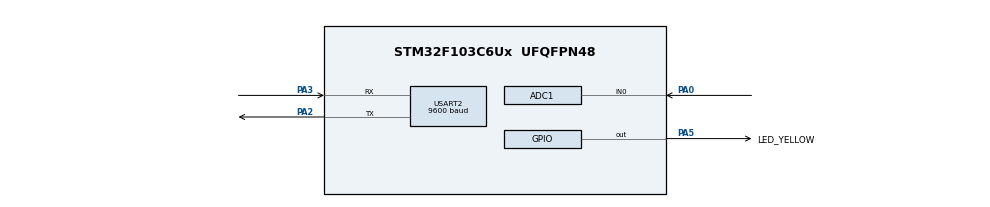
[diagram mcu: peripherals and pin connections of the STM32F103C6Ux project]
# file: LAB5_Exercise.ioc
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ADC1.Channel-0\#ChannelRegularConversion=ADC_CHANNEL_0
ADC1.ContinuousConvMode=ENABLE
ADC1.NbrOfConversionFlag=1
ADC1.Rank-0\#ChannelRegularConversion=1
ADC1.SamplingTime-0\#ChannelRegularConversion=ADC_SAMPLETIME_1CYCLE_5
ADC1.master=1
Mcu.Family=STM32F1
Mcu.Name=STM32F103C6Ux
Mcu.Package=UFQFPN48
NVIC.PriorityGroup=NVIC_PRIORITYGROUP_4
NVIC.TIM2_IRQn=true\:0\:0\:false\:false\:true\:true\:true
NVIC.USART2_IRQn=true\:0\:0\:false\:false\:true\:true\:true
PA0-WKUP.Signal=ADCx_IN0
PA2.Mode=Asynchronous
PA2.Signal=USART2_TX
PA3.Mode=Asynchronous
PA3.Signal=USART2_RX
PA5.GPIO_Label=LED_YELLOW
PA5.Signal=GPIO_Output
ProjectManager.HeapSize=0x200
ProjectManager.StackSize=0x400
ProjectManager.TargetToolchain=STM32CubeIDE
RCC.APB1Freq_Value=8000000
RCC.APB2Freq_Value=8000000
SH.ADCx_IN0.0=ADC1_IN0,IN0
TIM2.Period=9
TIM2.Prescaler=7999
USART2.BaudRate=9600
USART2.VirtualMode=VM_ASYNC
VP_SYS_VS_ND.Mode=No_Debug
VP_TIM2_VS_ClockSourceINT.Mode=Internal
board=custom

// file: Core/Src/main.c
/* USER CODE BEGIN Header */
/**
  ******************************************************************************
  * @file           : main.c
  * @brief          : Main program body
  ******************************************************************************
  * @attention
  *
  * <h2><center>&copy; Copyright (c) 2024 STMicroelectronics.
  * All rights reserved.</center></h2>
  *
  * This software component is licensed by ST under BSD 3-Clause license,
  * the "License"; You may not use this file except in compliance with the
  * License. You may obtain a copy of the License at:
  *                        opensource.org/licenses/BSD-3-Clause
  *
  ******************************************************************************
  */
/* USER CODE END Header */
#include "main.h"

/* USER CODE BEGIN Includes */
#include "string.h"
#include <stdio.h>
#include "software_timer.h"
/* USER CODE END Includes */

/* USER CODE BEGIN PD */
#define MAX_BUFFER_SIZE 200
#define RTS 1
#define OK 2
#define THREE_SECOND 3
/* USER CODE END PD */

ADC_HandleTypeDef hadc1;

TIM_HandleTypeDef htim2;

UART_HandleTypeDef huart2;

void SystemClock_Config(void);
static void MX_GPIO_Init(void);
static void MX_ADC1_Init(void);
static void MX_USART2_UART_Init(void);
static void MX_TIM2_Init(void);

/* USER CODE BEGIN 0 */
uint8_t temp = 0;  // Biến để lưu dữ liệu nhận từ UART
uint8_t buffer[MAX_BUFFER_SIZE];  // Bộ đệm để lưu dữ liệu nhận từ UART
uint8_t index_buffer = 0;  // Chỉ số hiện tại của bộ đệm
uint8_t buffer_flag = 0;  // C�? để đánh dấu dữ liệu đã được nhận hoàn tất
int command_state = THREE_SECOND;
uint8_t cmd_data[MAX_BUFFER_SIZE];
static uint32_t last_adc_value = 0;
static uint32_t adc_value = 1234;
char adc_response[20];
int transmit_counter=0;
static enum {
		PARSER_IDLE,
		PARSER_RECEIVING,
		PARSER_DONE
	} parser_state = PARSER_IDLE;
   static enum {
		   UART_IDLE,
		   UART_SEND_ADC,
		   UART_WAIT_OK,
		   UART_RETRANSMIT
	   } uart_state = UART_IDLE;

void HAL_UART_RxCpltCallback(UART_HandleTypeDef *huart)
{
    if (huart->Instance == USART2)  // Kiểm tra nếu là UART2
    {
    //	HAL_UART_Transmit(&huart2, &temp, 1, 50);
        buffer[index_buffer++] = temp; // Lưu dữ liệu nhận được vào buffer tại vị trí index_buffer
        // Nếu bộ đệm đầy, reset chỉ số v�? 0
        if (index_buffer == MAX_BUFFER_SIZE)
            index_buffer = 0;
    }

    //�?ặt c�? buffer_flag thành 1 để đánh dấu dữ liệu đã được nhận
    buffer_flag = 1;

    // Tiếp tục nhận dữ liệu từ UART (bật chế độ ngắt nhận UART)
    HAL_UART_Receive_IT(&huart2, &temp, 1);
}

void command_parser_fsm() {
    static uint8_t cmd_idx = 0;
    char characters = buffer[index_buffer - 1];  // Lấy ký tự mới nhất từ buffer
    switch (parser_state) {
        case PARSER_IDLE:
            if (characters == '!') {  // Bắt đầu chuỗi lệnh
                cmd_idx = 0;
                cmd_data[cmd_idx++] = characters;
                parser_state = PARSER_RECEIVING;
            }
            break;

        case PARSER_RECEIVING:
            cmd_data[cmd_idx++] = characters;  // Lưu ký tự
            if (characters == '#') {  // Kết thúc chuỗi lệnh
                parser_state = PARSER_DONE;
                cmd_data[cmd_idx] = '\0';  // Kết thúc chuỗi
            }
            break;

        case PARSER_DONE:
            // Kiểm tra chuỗi lệnh
            if (strcmp((char *)cmd_data, "!RTS#") == 0) {
                command_state = RTS;  // Lệnh yêu cầu gửi giá trị ADC
            } else if (strcmp((char *)cmd_data, "!OK#") == 0) {
                command_state = OK;  // �?ánh dấu kết thúc giao tiếp
            }
            parser_state = PARSER_IDLE;  // Quay lại trạng thái ban đầu
            break;

        default:
            parser_state = PARSER_IDLE;
            break;
    }

    // Reset index_buffer khi đạt giới hạn
    if (index_buffer >= MAX_BUFFER_SIZE) {
        index_buffer = 0;
    }
}

void uart_communication_fsm() {

    switch (uart_state) {
        case UART_IDLE:
        //	transmit_counter=0;
            if (command_state == RTS) {
            	HAL_GPIO_WritePin(LED_YELLOW_GPIO_Port, LED_YELLOW_Pin, RESET);
              //  adc_value = HAL_ADC_GetValue(&hadc1);  // �?�?c giá trị ADC
                snprintf(adc_response, sizeof(adc_response), "!ADC=%lu#\r\n", (uint32_t)adc_value);  // �?ịnh dạng chuỗi lệnh
           //     HAL_UART_Transmit(&huart2, (uint8_t *)adc_response, strlen(adc_response), 100);  // Gửi qua UART
                last_adc_value = adc_value;  // Lưu giá trị ADC
                uart_state = UART_RETRANSMIT;  // Chuyển sang trạng thái ch�? phản hồi
              //  setTimer(0, 3000);  // Bắt đầu đếm th�?i gian 3 giây
            }
            break;

        case UART_WAIT_OK:
            if (isTimerExpired(0)) {  // Hết th�?i gian ch�?
                uart_state = UART_RETRANSMIT;  // Chuyển sang trạng thái gửi lại
            }
            if(transmit_counter==5&&(command_state != OK)){
            	uart_state = UART_RETRANSMIT;
            }
            if (command_state == OK) {  // Nhận phản hồi !OK#
            	HAL_GPIO_WritePin(LED_YELLOW_GPIO_Port, LED_YELLOW_Pin, SET);
            	transmit_counter=0;
            	command_state=THREE_SECOND;
                uart_state = UART_IDLE;
            }
            break;

        case UART_RETRANSMIT:
        	if(transmit_counter<5){
				snprintf(adc_response, sizeof(adc_response), "!ADC=%lu#\r\n", (uint32_t)last_adc_value);  // �?ịnh dạng chuỗi ADC
				HAL_UART_Transmit(&huart2, (uint8_t *)adc_response, strlen(adc_response), 100);  // Gửi lại qua UART
				if(transmit_counter<4) setTimer(0, 3000);
				  // Reset lại th�?i gian ch�?
//				if(transmit_counter==4) clear_timer_flag(0);
				transmit_counter++;
				uart_state = UART_WAIT_OK;  // Chuyển v�? trạng thái ch�? phản hồi
        	}
        	else {
        	//	uart_state = UART_IDLE;
        	//	command_state=THREE_SECOND;
        	//	transmit_counter=0;
        		uart_state = UART_WAIT_OK;
        	}
            break;

        default:
            uart_state = UART_IDLE;
            break;
    }
}

/* USER CODE END 0 */

int main(void)
{

  /* MCU Configuration--------------------------------------------------------*/

  /* Reset of all peripherals, Initializes the Flash interface and the Systick. */
  HAL_Init();

  /* Configure the system clock */
  SystemClock_Config();

  /* Initialize all configured peripherals */
  MX_GPIO_Init();
  MX_ADC1_Init();
  MX_USART2_UART_Init();
  MX_TIM2_Init();
  /* USER CODE BEGIN 2 */
  HAL_UART_Receive_IT(&huart2, &temp, 1);
  HAL_TIM_Base_Start_IT(&htim2);
//  HAL_UART_RxCpltCallback(&huart2);
 // HAL_ADC_Start(&hadc1);
     //HAL_ADC_GetValue(&hadc1);
     command_state = THREE_SECOND;
  /* USER CODE END 2 */

  /* Infinite loop */
  /* USER CODE BEGIN WHILE */
  while (1)
  {

	  if (buffer_flag == 1) {
	  	 	          command_parser_fsm();  // Phân tích lệnh
	  	 	          buffer_flag = 0;       // Reset c�? nhận buffer
	  	 	      }
	  	 	      uart_communication_fsm();
    /* USER CODE END WHILE */

  }
}

void SystemClock_Config(void)
{
  RCC_OscInitTypeDef RCC_OscInitStruct = {0};
  RCC_ClkInitTypeDef RCC_ClkInitStruct = {0};
  RCC_PeriphCLKInitTypeDef PeriphClkInit = {0};

  /** Initializes the RCC Oscillators according to the specified parameters
  * in the RCC_OscInitTypeDef structure.
  */
  RCC_OscInitStruct.OscillatorType = RCC_OSCILLATORTYPE_HSI;
  RCC_OscInitStruct.HSIState = RCC_HSI_ON;
  RCC_OscInitStruct.HSICalibrationValue = RCC_HSICALIBRATION_DEFAULT;
  RCC_OscInitStruct.PLL.PLLState = RCC_PLL_NONE;
  if (HAL_RCC_OscConfig(&RCC_OscInitStruct) != HAL_OK)
  {
    Error_Handler();
  }
  /** Initializes the CPU, AHB and APB buses clocks
  */
  RCC_ClkInitStruct.ClockType = RCC_CLOCKTYPE_HCLK|RCC_CLOCKTYPE_SYSCLK
                              |RCC_CLOCKTYPE_PCLK1|RCC_CLOCKTYPE_PCLK2;
  RCC_ClkInitStruct.SYSCLKSource = RCC_SYSCLKSOURCE_HSI;
  RCC_ClkInitStruct.AHBCLKDivider = RCC_SYSCLK_DIV1;
  RCC_ClkInitStruct.APB1CLKDivider = RCC_HCLK_DIV1;
  RCC_ClkInitStruct.APB2CLKDivider = RCC_HCLK_DIV1;

  if (HAL_RCC_ClockConfig(&RCC_ClkInitStruct, FLASH_LATENCY_0) != HAL_OK)
  {
    Error_Handler();
  }
  PeriphClkInit.PeriphClockSelection = RCC_PERIPHCLK_ADC;
  PeriphClkInit.AdcClockSelection = RCC_ADCPCLK2_DIV2;
  if (HAL_RCCEx_PeriphCLKConfig(&PeriphClkInit) != HAL_OK)
  {
    Error_Handler();
  }
}

static void MX_ADC1_Init(void)
{

  ADC_ChannelConfTypeDef sConfig = {0};

  /** Common config
  */
  hadc1.Instance = ADC1;
  hadc1.Init.ScanConvMode = ADC_SCAN_DISABLE;
  hadc1.Init.ContinuousConvMode = ENABLE;
  hadc1.Init.DiscontinuousConvMode = DISABLE;
  hadc1.Init.ExternalTrigConv = ADC_SOFTWARE_START;
  hadc1.Init.DataAlign = ADC_DATAALIGN_RIGHT;
  hadc1.Init.NbrOfConversion = 1;
  if (HAL_ADC_Init(&hadc1) != HAL_OK)
  {
    Error_Handler();
  }
  /** Configure Regular Channel
  */
  sConfig.Channel = ADC_CHANNEL_0;
  sConfig.Rank = ADC_REGULAR_RANK_1;
  sConfig.SamplingTime = ADC_SAMPLETIME_1CYCLE_5;
  if (HAL_ADC_ConfigChannel(&hadc1, &sConfig) != HAL_OK)
  {
    Error_Handler();
  }

}

static void MX_TIM2_Init(void)
{

  TIM_ClockConfigTypeDef sClockSourceConfig = {0};
  TIM_MasterConfigTypeDef sMasterConfig = {0};

  htim2.Instance = TIM2;
  htim2.Init.Prescaler = 7999;
  htim2.Init.CounterMode = TIM_COUNTERMODE_UP;
  htim2.Init.Period = 9;
  htim2.Init.ClockDivision = TIM_CLOCKDIVISION_DIV1;
  htim2.Init.AutoReloadPreload = TIM_AUTORELOAD_PRELOAD_DISABLE;
  if (HAL_TIM_Base_Init(&htim2) != HAL_OK)
  {
    Error_Handler();
  }
  sClockSourceConfig.ClockSource = TIM_CLOCKSOURCE_INTERNAL;
  if (HAL_TIM_ConfigClockSource(&htim2, &sClockSourceConfig) != HAL_OK)
  {
    Error_Handler();
  }
  sMasterConfig.MasterOutputTrigger = TIM_TRGO_RESET;
  sMasterConfig.MasterSlaveMode = TIM_MASTERSLAVEMODE_DISABLE;
  if (HAL_TIMEx_MasterConfigSynchronization(&htim2, &sMasterConfig) != HAL_OK)
  {
    Error_Handler();
  }

}

static void MX_USART2_UART_Init(void)
{

  huart2.Instance = USART2;
  huart2.Init.BaudRate = 9600;
  huart2.Init.WordLength = UART_WORDLENGTH_8B;
  huart2.Init.StopBits = UART_STOPBITS_1;
  huart2.Init.Parity = UART_PARITY_NONE;
  huart2.Init.Mode = UART_MODE_TX_RX;
  huart2.Init.HwFlowCtl = UART_HWCONTROL_NONE;
  huart2.Init.OverSampling = UART_OVERSAMPLING_16;
  if (HAL_UART_Init(&huart2) != HAL_OK)
  {
    Error_Handler();
  }

}

static void MX_GPIO_Init(void)
{
  GPIO_InitTypeDef GPIO_InitStruct = {0};

  /* GPIO Ports Clock Enable */
  __HAL_RCC_GPIOA_CLK_ENABLE();

  /*Configure GPIO pin Output Level */
  HAL_GPIO_WritePin(LED_YELLOW_GPIO_Port, LED_YELLOW_Pin, GPIO_PIN_RESET);

  /*Configure GPIO pin : LED_YELLOW_Pin */
  GPIO_InitStruct.Pin = LED_YELLOW_Pin;
  GPIO_InitStruct.Mode = GPIO_MODE_OUTPUT_PP;
  GPIO_InitStruct.Pull = GPIO_NOPULL;
  GPIO_InitStruct.Speed = GPIO_SPEED_FREQ_LOW;
  HAL_GPIO_Init(LED_YELLOW_GPIO_Port, &GPIO_InitStruct);

}

/* USER CODE BEGIN 4 */
void HAL_TIM_PeriodElapsedCallback(TIM_HandleTypeDef *htim){
	timerRun();
}
/* USER CODE END 4 */

void Error_Handler(void)
{
  __disable_irq();
  while (1)
  {
  }
}

/************************ (C) COPYRIGHT STMicroelectronics *****END OF FILE****/
